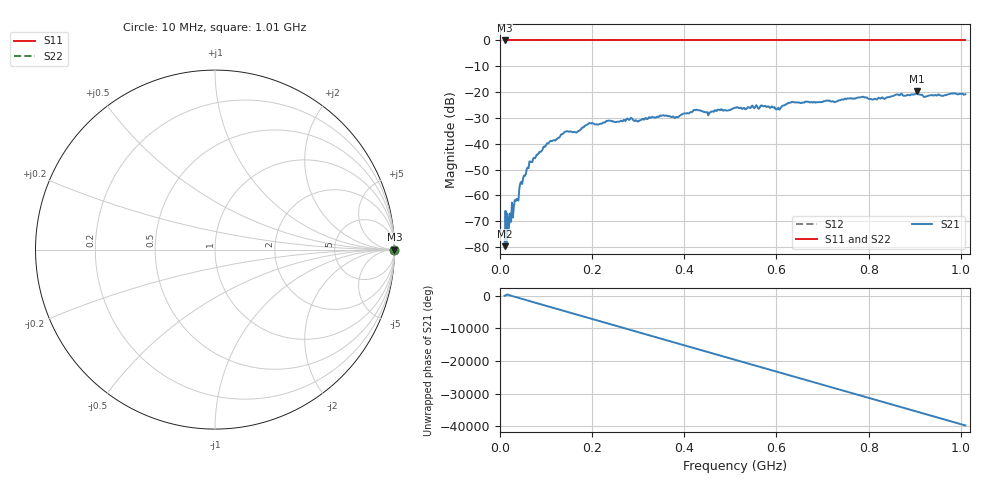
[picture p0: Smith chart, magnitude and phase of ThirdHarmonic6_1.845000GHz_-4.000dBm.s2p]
! 8/16/2025 10:19:39 PM
! C:\ANRITSUVNA\TEMP\TEMP.S2P
! CHANNEL.1
! TR.MEASUREMENT
! RAW.DATA
! RF.CORRECTION.OFF
! AVERAGING.OFF
! IF.BANDWIDTH: 5KHZ
! SWEEPTYPE:  FREQ.SWEEP(Linear)
! Reference Plane Port Info
! PORT:  PORT1  PORT2
! DISTANCE:  0  m  0  m
! TIME:  0  s  0  s
! PHASE.OFFSET:  0  deg.  0  deg.
! LOSS:  0  dB  0  dB
! REF.LOSS:  0  dB  0  dB
! REF.FREQ:  0  Hz  0  Hz
! Power Info
! POWER:  -20  dBm  -20  dBm
! EFF.POWER:  -20  dBm  -20  dBm
! SOURCE.ATTEN:  0  dB  0  dB
! TEST.ATTEN:  0  dB  0  dB
# GHZ S RI R 50.0
! FREQ.GHZ  S11RE  S11IM  S21RE  S21IM  S12RE  S12IM  S22RE  S22IM
!; PortSelection: Port_12
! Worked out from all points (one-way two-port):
!   501 points, 10 MHz to 1.01 GHz, reference 50 ohm
!   highest |S21| = -19.65 dB at 904 MHz (marker M1); lowest = -79.7 dB at 10 MHz (marker M2)
!   lowest |S11| = 0.0 dB at 10 MHz (marker M3)
!   |S11| at or under -10 dB: nowhere
!   |S22| runs from 0.0 to 0.0 dB; largest |S21 - S12| = 1.1
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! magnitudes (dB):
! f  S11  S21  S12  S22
! 10 MHz  0.0  -79.7  0.0  0.0
! 16 MHz  0.0  -67.1  0.0  0.0
! 18 MHz  0.0  -73.7  0.0  0.0
! 46 MHz  0.0  -54.7  0.0  0.0
! 68 MHz  0.0  -47.1  0.0  0.0
! 106 MHz  0.0  -39.7  0.0  0.0
! 142 MHz  0.0  -35.4  0.0  0.0
! 178 MHz  0.0  -33.8  0.0  0.0
! 196 MHz  0.0  -32.1  0.0  0.0
! 344 MHz  0.0  -29.7  0.0  0.0
! 382 MHz  0.0  -29.7  0.0  0.0
! 424 MHz  0.0  -27.0  0.0  0.0
! 452 MHz  0.0  -29.0  0.0  0.0
! 510 MHz  0.0  -26.0  0.0  0.0
! 570 MHz  0.0  -25.4  0.0  0.0
! 602 MHz  0.0  -26.5  0.0  0.0
! 632 MHz  0.0  -24.0  0.0  0.0
! 678 MHz  0.0  -24.1  0.0  0.0
! 844 MHz  0.0  -21.9  0.0  0.0
! 904 MHz  0.0  -19.6  0.0  0.0
! 924 MHz  0.0  -21.8  0.0  0.0
! 1.01 GHz  0.0  -20.8  0.0  0.0
